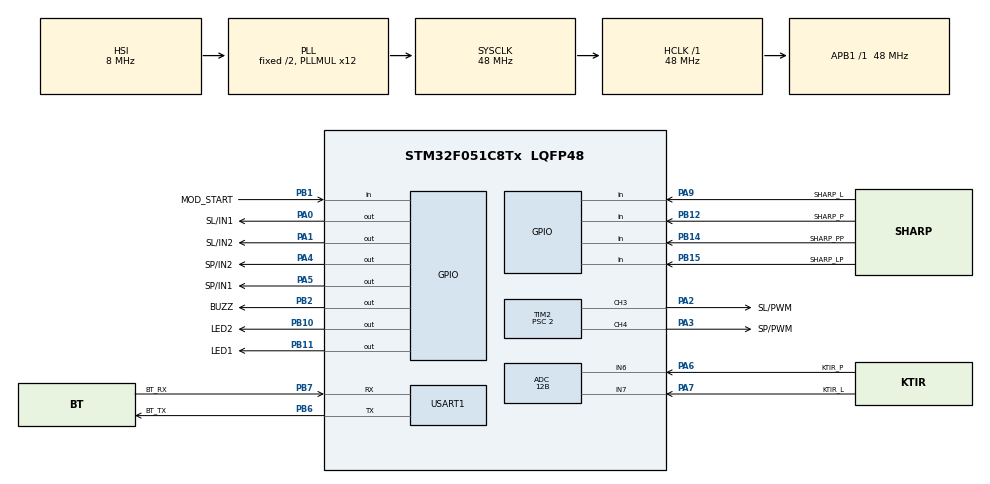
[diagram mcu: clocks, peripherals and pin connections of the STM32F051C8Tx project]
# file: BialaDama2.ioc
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ADC.ClockPrescaler=ADC_CLOCK_SYNC_PCLK_DIV4
ADC.ContinuousConvMode=ENABLE
ADC.DMAContinuousRequests=ENABLE
ADC.DataAlign=ADC_DATAALIGN_RIGHT
ADC.DiscontinuousConvMode=DISABLE
ADC.EOCSelection=ADC_EOC_SINGLE_CONV
ADC.EnableAnalogWatchDog=false
ADC.ExternalTrigConvEdge=ADC_EXTERNALTRIGCONVEDGE_NONE
ADC.LowPowerAutoPowerOff=DISABLE
ADC.LowPowerAutoWait=DISABLE
ADC.Overrun=ADC_OVR_DATA_PRESERVED
ADC.Resolution=ADC_RESOLUTION_12B
ADC.SamplingTime=ADC_SAMPLETIME_239CYCLES_5
ADC.ScanConvMode=ADC_SCAN_DIRECTION_FORWARD
Dma.ADC.2.Direction=DMA_PERIPH_TO_MEMORY
Dma.ADC.2.Instance=DMA1_Channel1
Dma.ADC.2.MemDataAlignment=DMA_MDATAALIGN_HALFWORD
Dma.ADC.2.MemInc=DMA_MINC_ENABLE
Dma.ADC.2.Mode=DMA_CIRCULAR
Dma.ADC.2.PeriphDataAlignment=DMA_PDATAALIGN_HALFWORD
Dma.ADC.2.PeriphInc=DMA_PINC_DISABLE
Dma.ADC.2.Priority=DMA_PRIORITY_LOW
Dma.Request0=USART1_RX
Dma.Request1=USART1_TX
Dma.Request2=ADC
Dma.USART1_RX.0.Direction=DMA_PERIPH_TO_MEMORY
Dma.USART1_RX.0.Instance=DMA1_Channel3
Dma.USART1_RX.0.MemDataAlignment=DMA_MDATAALIGN_BYTE
Dma.USART1_RX.0.MemInc=DMA_MINC_ENABLE
Dma.USART1_RX.0.Mode=DMA_CIRCULAR
Dma.USART1_RX.0.PeriphDataAlignment=DMA_PDATAALIGN_BYTE
Dma.USART1_RX.0.PeriphInc=DMA_PINC_DISABLE
Dma.USART1_RX.0.Priority=DMA_PRIORITY_LOW
Dma.USART1_TX.1.Direction=DMA_MEMORY_TO_PERIPH
Dma.USART1_TX.1.Instance=DMA1_Channel2
Dma.USART1_TX.1.MemDataAlignment=DMA_MDATAALIGN_BYTE
Dma.USART1_TX.1.MemInc=DMA_MINC_ENABLE
Dma.USART1_TX.1.Mode=DMA_NORMAL
Dma.USART1_TX.1.PeriphDataAlignment=DMA_PDATAALIGN_BYTE
Dma.USART1_TX.1.PeriphInc=DMA_PINC_DISABLE
Dma.USART1_TX.1.Priority=DMA_PRIORITY_LOW
Mcu.Family=STM32F0
Mcu.Name=STM32F051C8Tx
Mcu.Package=LQFP48
NVIC.DMA1_Channel1_IRQn=true\:0\:0\:false\:false\:true
NVIC.DMA1_Channel2_3_IRQn=true\:0\:0\:false\:false\:true
NVIC.TIM17_IRQn=true\:0\:0\:false\:false\:true
NVIC.USART1_IRQn=true\:0\:0\:false\:false\:true
PA0.GPIO_Label=SL/IN1
PA0.Signal=GPIO_Output
PA1.GPIO_Label=SL/IN2
PA1.Signal=GPIO_Output
PA13.GPIO_Label=PROG1
PA13.Mode=Serial_Wire
PA13.Signal=SYS_SWDIO
PA14.GPIO_Label=PROG2
PA14.Mode=Serial_Wire
PA14.Signal=SYS_SWCLK
PA2.GPIO_Label=SL/PWM
PA2.Signal=S_TIM2_CH3
PA3.GPIO_Label=SP/PWM
PA3.Signal=S_TIM2_CH4
PA4.GPIO_Label=SP/IN2
PA4.Signal=GPIO_Output
PA5.GPIO_Label=SP/IN1
PA5.Signal=GPIO_Output
PA6.GPIO_Label=KTIR_P
PA6.Mode=IN6
PA6.Signal=ADC_IN6
PA7.GPIO_Label=KTIR_L
PA7.Mode=IN7
PA7.Signal=ADC_IN7
PA9.GPIO_Label=SHARP_L
PA9.Signal=GPIO_Input
PB1.GPIO_Label=MOD_START
PB1.GPIO_PuPd=GPIO_PULLDOWN
PB1.Signal=GPIO_Input
PB10.GPIO_Label=LED2
PB10.Signal=GPIO_Output
PB11.GPIO_Label=LED1
PB11.Signal=GPIO_Output
PB12.GPIO_Label=SHARP_P
PB12.Signal=GPIO_Input
PB14.GPIO_Label=SHARP_PP
PB14.Signal=GPIO_Input
PB15.GPIO_Label=SHARP_LP
PB15.Signal=GPIO_Input
PB2.GPIO_Label=BUZZ
PB2.Signal=GPIO_Output
PB6.GPIO_Label=BT_TX
PB6.Mode=Asynchronous
PB6.Signal=USART1_TX
PB7.GPIO_Label=BT_RX
PB7.Mode=Asynchronous
PB7.Signal=USART1_RX
ProjectManager.HeapSize=0x200
ProjectManager.StackSize=0x400
ProjectManager.TargetToolchain=SW4STM32
RCC.AHBFreq_Value=48000000
RCC.APB1Freq_Value=48000000
RCC.APB1TimFreq_Value=48000000
RCC.HCLKFreq_Value=48000000
RCC.PLLMUL=RCC_PLL_MUL12
RCC.SYSCLKFreq_VALUE=48000000
RCC.SYSCLKSource=RCC_SYSCLKSOURCE_PLLCLK
SH.S_TIM2_CH3.0=TIM2_CH3,PWM Generation3 CH3
SH.S_TIM2_CH4.0=TIM2_CH4,PWM Generation4 CH4
TIM17.Period=999
TIM17.Prescaler=47
TIM2.Channel-PWM\ Generation3\ CH3=TIM_CHANNEL_3
TIM2.Channel-PWM\ Generation4\ CH4=TIM_CHANNEL_4
TIM2.Period=999
TIM2.Prescaler=2
USART1.WordLength=UART_WORDLENGTH_8B
VP_TIM17_VS_ClockSourceINT.Mode=Enable_Timer
VP_TIM2_VS_ClockSourceINT.Mode=Internal
board=BialaDama2

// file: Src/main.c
/**
  ******************************************************************************
  * File Name          : main.c
  * Description        : Main program body
  ******************************************************************************
  *
  * COPYRIGHT(c) 2017 STMicroelectronics
  *
  * Redistribution and use in source and binary forms, with or without modification,
  * are permitted provided that the following conditions are met:
  *   1. Redistributions of source code must retain the above copyright notice,
  *      this list of conditions and the following disclaimer.
  *   2. Redistributions in binary form must reproduce the above copyright notice,
  *      this list of conditions and the following disclaimer in the documentation
  *      and/or other materials provided with the distribution.
  *   3. Neither the name of STMicroelectronics nor the names of its contributors
  *      may be used to endorse or promote products derived from this software
  *      without specific prior written permission.
  *
  * THIS SOFTWARE IS PROVIDED BY THE COPYRIGHT HOLDERS AND CONTRIBUTORS "AS IS"
  * AND ANY EXPRESS OR IMPLIED WARRANTIES, INCLUDING, BUT NOT LIMITED TO, THE
  * IMPLIED WARRANTIES OF MERCHANTABILITY AND FITNESS FOR A PARTICULAR PURPOSE ARE
  * DISCLAIMED. IN NO EVENT SHALL THE COPYRIGHT HOLDER OR CONTRIBUTORS BE LIABLE
  * FOR ANY DIRECT, INDIRECT, INCIDENTAL, SPECIAL, EXEMPLARY, OR CONSEQUENTIAL
  * DAMAGES (INCLUDING, BUT NOT LIMITED TO, PROCUREMENT OF SUBSTITUTE GOODS OR
  * SERVICES; LOSS OF USE, DATA, OR PROFITS; OR BUSINESS INTERRUPTION) HOWEVER
  * CAUSED AND ON ANY THEORY OF LIABILITY, WHETHER IN CONTRACT, STRICT LIABILITY,
  * OR TORT (INCLUDING NEGLIGENCE OR OTHERWISE) ARISING IN ANY WAY OUT OF THE USE
  * OF THIS SOFTWARE, EVEN IF ADVISED OF THE POSSIBILITY OF SUCH DAMAGE.
  *
  ******************************************************************************
  */
#include "main.h"
#include "stm32f0xx_hal.h"

ADC_HandleTypeDef hadc;
DMA_HandleTypeDef hdma_adc;

TIM_HandleTypeDef htim2;
TIM_HandleTypeDef htim17;

UART_HandleTypeDef huart1;
DMA_HandleTypeDef hdma_usart1_rx;
DMA_HandleTypeDef hdma_usart1_tx;

/* USER CODE BEGIN PV */
/* Private variables ---------------------------------------------------------*/
uint16_t ADC_val[2];
uint8_t ADC1_0[2];
uint8_t SHARP1_0[4];
const uint16_t Duty = 1000;
const uint16_t prog = 2000;
uint8_t start = 0;
uint8_t startleft = 0;
uint8_t data = 0;
/* USER CODE END PV */

void SystemClock_Config(void);
void Error_Handler(void);
static void MX_GPIO_Init(void);
static void MX_DMA_Init(void);
static void MX_ADC_Init(void);
static void MX_TIM2_Init(void);
static void MX_USART1_UART_Init(void);
static void MX_TIM17_Init(void);

void HAL_TIM_MspPostInit(TIM_HandleTypeDef *htim);

/* USER CODE BEGIN PFP */
/* Private function prototypes -----------------------------------------------*/
void adc_lvl();

void ADC_Line();

void forward();

void back();

void forwardRight();

void forwardLeft();

void hardRight();

void hardLeft();

void left();

void right();

void stop();

void lookForEnemy();

void motorsForward();

void fight();

void HAL_UART_RxCpltCallback(UART_HandleTypeDef *huart);

void HAL_TIM_PeriodElapsedCallback(TIM_HandleTypeDef *htim);

/* USER CODE END PFP */

int main(void)
{

  /* MCU Configuration----------------------------------------------------------*/

  /* Reset of all peripherals, Initializes the Flash interface and the Systick. */
  HAL_Init();

  /* Configure the system clock */
  SystemClock_Config();

  /* Initialize all configured peripherals */
  MX_GPIO_Init();
  MX_DMA_Init();
  MX_ADC_Init();
  MX_TIM2_Init();
  MX_USART1_UART_Init();
  MX_TIM17_Init();

  /* USER CODE BEGIN 2 */

  HAL_TIM_Base_Start_IT(&htim17);

  HAL_TIM_PWM_Start(&htim2, TIM_CHANNEL_3);
  HAL_TIM_PWM_Start(&htim2, TIM_CHANNEL_4);

  //HAL_ADC_Start_DMA(&hadc, ADC_val, 2);

  HAL_UART_Receive_DMA(&huart1,&data,1);

  motorsForward();

	if(HAL_GPIO_ReadPin(SHARP_L_GPIO_Port, SHARP_L_Pin) == GPIO_PIN_RESET){
		startleft = 1;
		HAL_Delay(500);
		HAL_GPIO_TogglePin(LED1_GPIO_Port, LED1_Pin);
		HAL_Delay(500);
		HAL_GPIO_TogglePin(LED1_GPIO_Port, LED1_Pin);
	}
	else if(HAL_GPIO_ReadPin(SHARP_P_GPIO_Port, SHARP_P_Pin) == GPIO_PIN_RESET){
		startleft = 0;
		HAL_Delay(500);
		HAL_GPIO_TogglePin(LED2_GPIO_Port, LED2_Pin);
		HAL_Delay(500);
		HAL_GPIO_TogglePin(LED2_GPIO_Port, LED2_Pin);
	}

  /* USER CODE END 2 */

  /* Infinite loop */
  /* USER CODE BEGIN WHILE */

  while (1)
  {
	  //BT start
	while(HAL_GPIO_ReadPin(MOD_START_GPIO_Port, MOD_START_Pin) == GPIO_PIN_SET){
	//adc_lvl();
	//ADC_Line();
	lookForEnemy();
	fight();
	}
	stop();
  /* USER CODE END WHILE */

  }

}

/** System Clock Configuration
*/
void SystemClock_Config(void)
{

  RCC_OscInitTypeDef RCC_OscInitStruct;
  RCC_ClkInitTypeDef RCC_ClkInitStruct;
  RCC_PeriphCLKInitTypeDef PeriphClkInit;

    /**Initializes the CPU, AHB and APB busses clocks
    */
  RCC_OscInitStruct.OscillatorType = RCC_OSCILLATORTYPE_HSI;
  RCC_OscInitStruct.HSIState = RCC_HSI_ON;
  RCC_OscInitStruct.HSICalibrationValue = 16;
  RCC_OscInitStruct.PLL.PLLState = RCC_PLL_ON;
  RCC_OscInitStruct.PLL.PLLSource = RCC_PLLSOURCE_HSI;
  RCC_OscInitStruct.PLL.PLLMUL = RCC_PLL_MUL12;
  RCC_OscInitStruct.PLL.PREDIV = RCC_PREDIV_DIV1;
  if (HAL_RCC_OscConfig(&RCC_OscInitStruct) != HAL_OK)
  {
    Error_Handler();
  }

    /**Initializes the CPU, AHB and APB busses clocks
    */
  RCC_ClkInitStruct.ClockType = RCC_CLOCKTYPE_HCLK|RCC_CLOCKTYPE_SYSCLK
                              |RCC_CLOCKTYPE_PCLK1;
  RCC_ClkInitStruct.SYSCLKSource = RCC_SYSCLKSOURCE_PLLCLK;
  RCC_ClkInitStruct.AHBCLKDivider = RCC_SYSCLK_DIV1;
  RCC_ClkInitStruct.APB1CLKDivider = RCC_HCLK_DIV1;

  if (HAL_RCC_ClockConfig(&RCC_ClkInitStruct, FLASH_LATENCY_1) != HAL_OK)
  {
    Error_Handler();
  }

  PeriphClkInit.PeriphClockSelection = RCC_PERIPHCLK_USART1;
  PeriphClkInit.Usart1ClockSelection = RCC_USART1CLKSOURCE_PCLK1;
  if (HAL_RCCEx_PeriphCLKConfig(&PeriphClkInit) != HAL_OK)
  {
    Error_Handler();
  }

    /**Configure the Systick interrupt time
    */
  HAL_SYSTICK_Config(HAL_RCC_GetHCLKFreq()/1000);

    /**Configure the Systick
    */
  HAL_SYSTICK_CLKSourceConfig(SYSTICK_CLKSOURCE_HCLK);

  /* SysTick_IRQn interrupt configuration */
  HAL_NVIC_SetPriority(SysTick_IRQn, 0, 0);
}

/* ADC init function */
static void MX_ADC_Init(void)
{

  ADC_ChannelConfTypeDef sConfig;

    /**Configure the global features of the ADC (Clock, Resolution, Data Alignment and number of conversion)
    */
  hadc.Instance = ADC1;
  hadc.Init.ClockPrescaler = ADC_CLOCK_SYNC_PCLK_DIV4;
  hadc.Init.Resolution = ADC_RESOLUTION_12B;
  hadc.Init.DataAlign = ADC_DATAALIGN_RIGHT;
  hadc.Init.ScanConvMode = ADC_SCAN_DIRECTION_FORWARD;
  hadc.Init.EOCSelection = ADC_EOC_SINGLE_CONV;
  hadc.Init.LowPowerAutoWait = DISABLE;
  hadc.Init.LowPowerAutoPowerOff = DISABLE;
  hadc.Init.ContinuousConvMode = ENABLE;
  hadc.Init.DiscontinuousConvMode = DISABLE;
  hadc.Init.ExternalTrigConvEdge = ADC_EXTERNALTRIGCONVEDGE_NONE;
  hadc.Init.DMAContinuousRequests = ENABLE;
  hadc.Init.Overrun = ADC_OVR_DATA_PRESERVED;
  if (HAL_ADC_Init(&hadc) != HAL_OK)
  {
    Error_Handler();
  }

    /**Configure for the selected ADC regular channel to be converted.
    */
  sConfig.Channel = ADC_CHANNEL_6;
  sConfig.Rank = ADC_RANK_CHANNEL_NUMBER;
  sConfig.SamplingTime = ADC_SAMPLETIME_239CYCLES_5;
  if (HAL_ADC_ConfigChannel(&hadc, &sConfig) != HAL_OK)
  {
    Error_Handler();
  }

    /**Configure for the selected ADC regular channel to be converted.
    */
  sConfig.Channel = ADC_CHANNEL_7;
  if (HAL_ADC_ConfigChannel(&hadc, &sConfig) != HAL_OK)
  {
    Error_Handler();
  }

}

/* TIM2 init function */
static void MX_TIM2_Init(void)
{

  TIM_ClockConfigTypeDef sClockSourceConfig;
  TIM_MasterConfigTypeDef sMasterConfig;
  TIM_OC_InitTypeDef sConfigOC;

  htim2.Instance = TIM2;
  htim2.Init.Prescaler = 2;
  htim2.Init.CounterMode = TIM_COUNTERMODE_UP;
  htim2.Init.Period = 999;
  htim2.Init.ClockDivision = TIM_CLOCKDIVISION_DIV1;
  if (HAL_TIM_Base_Init(&htim2) != HAL_OK)
  {
    Error_Handler();
  }

  sClockSourceConfig.ClockSource = TIM_CLOCKSOURCE_INTERNAL;
  if (HAL_TIM_ConfigClockSource(&htim2, &sClockSourceConfig) != HAL_OK)
  {
    Error_Handler();
  }

  if (HAL_TIM_PWM_Init(&htim2) != HAL_OK)
  {
    Error_Handler();
  }

  sMasterConfig.MasterOutputTrigger = TIM_TRGO_RESET;
  sMasterConfig.MasterSlaveMode = TIM_MASTERSLAVEMODE_DISABLE;
  if (HAL_TIMEx_MasterConfigSynchronization(&htim2, &sMasterConfig) != HAL_OK)
  {
    Error_Handler();
  }

  sConfigOC.OCMode = TIM_OCMODE_PWM1;
  sConfigOC.Pulse = 0;
  sConfigOC.OCPolarity = TIM_OCPOLARITY_HIGH;
  sConfigOC.OCFastMode = TIM_OCFAST_DISABLE;
  if (HAL_TIM_PWM_ConfigChannel(&htim2, &sConfigOC, TIM_CHANNEL_3) != HAL_OK)
  {
    Error_Handler();
  }

  if (HAL_TIM_PWM_ConfigChannel(&htim2, &sConfigOC, TIM_CHANNEL_4) != HAL_OK)
  {
    Error_Handler();
  }

  HAL_TIM_MspPostInit(&htim2);

}

/* TIM17 init function */
static void MX_TIM17_Init(void)
{

  htim17.Instance = TIM17;
  htim17.Init.Prescaler = 47;
  htim17.Init.CounterMode = TIM_COUNTERMODE_UP;
  htim17.Init.Period = 999;
  htim17.Init.ClockDivision = TIM_CLOCKDIVISION_DIV1;
  htim17.Init.RepetitionCounter = 0;
  if (HAL_TIM_Base_Init(&htim17) != HAL_OK)
  {
    Error_Handler();
  }

}

/* USART1 init function */
static void MX_USART1_UART_Init(void)
{

  huart1.Instance = USART1;
  huart1.Init.BaudRate = 38400;
  huart1.Init.WordLength = UART_WORDLENGTH_8B;
  huart1.Init.StopBits = UART_STOPBITS_1;
  huart1.Init.Parity = UART_PARITY_NONE;
  huart1.Init.Mode = UART_MODE_TX_RX;
  huart1.Init.HwFlowCtl = UART_HWCONTROL_NONE;
  huart1.Init.OverSampling = UART_OVERSAMPLING_16;
  huart1.Init.OneBitSampling = UART_ONE_BIT_SAMPLE_DISABLE;
  huart1.AdvancedInit.AdvFeatureInit = UART_ADVFEATURE_NO_INIT;
  if (HAL_UART_Init(&huart1) != HAL_OK)
  {
    Error_Handler();
  }

}

static void MX_DMA_Init(void)
{
  /* DMA controller clock enable */
  __HAL_RCC_DMA1_CLK_ENABLE();

  /* DMA interrupt init */
  /* DMA1_Channel1_IRQn interrupt configuration */
  HAL_NVIC_SetPriority(DMA1_Channel1_IRQn, 0, 0);
  HAL_NVIC_EnableIRQ(DMA1_Channel1_IRQn);
  /* DMA1_Channel2_3_IRQn interrupt configuration */
  HAL_NVIC_SetPriority(DMA1_Channel2_3_IRQn, 0, 0);
  HAL_NVIC_EnableIRQ(DMA1_Channel2_3_IRQn);

}

/** Configure pins as
        * Analog
        * Input
        * Output
        * EVENT_OUT
        * EXTI
*/
static void MX_GPIO_Init(void)
{

  GPIO_InitTypeDef GPIO_InitStruct;

  /* GPIO Ports Clock Enable */
  __HAL_RCC_GPIOA_CLK_ENABLE();
  __HAL_RCC_GPIOB_CLK_ENABLE();

  /*Configure GPIO pin Output Level */
  HAL_GPIO_WritePin(GPIOA, SL_IN1_Pin|SL_IN2_Pin|SP_IN2_Pin|SP_IN1_Pin, GPIO_PIN_RESET);

  /*Configure GPIO pin Output Level */
  HAL_GPIO_WritePin(GPIOB, BUZZ_Pin|LED2_Pin|LED1_Pin, GPIO_PIN_RESET);

  /*Configure GPIO pins : SL_IN1_Pin SL_IN2_Pin SP_IN2_Pin SP_IN1_Pin */
  GPIO_InitStruct.Pin = SL_IN1_Pin|SL_IN2_Pin|SP_IN2_Pin|SP_IN1_Pin;
  GPIO_InitStruct.Mode = GPIO_MODE_OUTPUT_PP;
  GPIO_InitStruct.Pull = GPIO_NOPULL;
  GPIO_InitStruct.Speed = GPIO_SPEED_FREQ_LOW;
  HAL_GPIO_Init(GPIOA, &GPIO_InitStruct);

  /*Configure GPIO pin : MOD_START_Pin */
  GPIO_InitStruct.Pin = MOD_START_Pin;
  GPIO_InitStruct.Mode = GPIO_MODE_INPUT;
  GPIO_InitStruct.Pull = GPIO_PULLDOWN;
  HAL_GPIO_Init(MOD_START_GPIO_Port, &GPIO_InitStruct);

  /*Configure GPIO pins : BUZZ_Pin LED2_Pin LED1_Pin */
  GPIO_InitStruct.Pin = BUZZ_Pin|LED2_Pin|LED1_Pin;
  GPIO_InitStruct.Mode = GPIO_MODE_OUTPUT_PP;
  GPIO_InitStruct.Pull = GPIO_NOPULL;
  GPIO_InitStruct.Speed = GPIO_SPEED_FREQ_LOW;
  HAL_GPIO_Init(GPIOB, &GPIO_InitStruct);

  /*Configure GPIO pins : SHARP_P_Pin SHARP_PP_Pin SHARP_LP_Pin */
  GPIO_InitStruct.Pin = SHARP_P_Pin|SHARP_PP_Pin|SHARP_LP_Pin;
  GPIO_InitStruct.Mode = GPIO_MODE_INPUT;
  GPIO_InitStruct.Pull = GPIO_NOPULL;
  HAL_GPIO_Init(GPIOB, &GPIO_InitStruct);

  /*Configure GPIO pin : SHARP_L_Pin */
  GPIO_InitStruct.Pin = SHARP_L_Pin;
  GPIO_InitStruct.Mode = GPIO_MODE_INPUT;
  GPIO_InitStruct.Pull = GPIO_NOPULL;
  HAL_GPIO_Init(SHARP_L_GPIO_Port, &GPIO_InitStruct);

}

/* USER CODE BEGIN 4 */
void adc_lvl(){
//	if (ADC_val[0] < 500)  //prawy
//		ADC1_0[0] = 1;
//	else
//		ADC1_0[0] = 0;
	ADC1_0[0] = 0;
	if (ADC_val[1] < 1000) //lewy
		ADC1_0[1] = 1;
	else
		ADC1_0[1] = 0;

}

void forward(){
	  TIM2->CCR3 = Duty;
	  TIM2->CCR4 = Duty;
}

void back(){
	HAL_GPIO_TogglePin(SP_IN1_GPIO_Port, SP_IN1_Pin);			//ustawienie jednego silnika na jazde w przeciwna strone
	HAL_GPIO_TogglePin(SP_IN2_GPIO_Port, SP_IN2_Pin);
	HAL_GPIO_TogglePin(SL_IN1_GPIO_Port, SL_IN1_Pin);			//ustawienie jednego silnika na jazde w przeciwna strone
	HAL_GPIO_TogglePin(SL_IN2_GPIO_Port, SL_IN2_Pin);
	forward();
}

void forwardRight(){
	  TIM2->CCR3 = Duty;
	  TIM2->CCR4 = Duty * 0.6;
}

void forwardLeft(){
	  TIM2->CCR3 = Duty * 0.6;
	  TIM2->CCR4 = Duty;
}

void hardRight(){
	 HAL_GPIO_WritePin(SP_IN1_GPIO_Port, SP_IN1_Pin, GPIO_PIN_SET);
	 HAL_GPIO_WritePin(SP_IN2_GPIO_Port, SP_IN2_Pin, GPIO_PIN_RESET);
	 TIM2->CCR3 = Duty;
	 TIM2->CCR4 = Duty;
}

void hardLeft(){
	HAL_GPIO_WritePin(SL_IN1_GPIO_Port, SL_IN1_Pin, GPIO_PIN_SET);		//ustawienie silnikow na jazde do przodu
	HAL_GPIO_WritePin(SL_IN2_GPIO_Port, SL_IN2_Pin, GPIO_PIN_RESET);
	TIM2->CCR3 = Duty;
	TIM2->CCR4 = Duty;
}

void left(){
	  TIM2->CCR3 = 0;
	  TIM2->CCR4 = Duty;
}

void right(){
	  TIM2->CCR3 = Duty; 	 //lewe kolo
	  TIM2->CCR4 = 0;		 //prawe kolo
}

void stop(){
	  TIM2->CCR3 = 0; 	 //lewe kolo
	  TIM2->CCR4 = 0;		 //prawe kolo
}

void lookForEnemy(){
	if (HAL_GPIO_ReadPin(SHARP_L_GPIO_Port, SHARP_L_Pin) == GPIO_PIN_RESET) {
		SHARP1_0[0] = 1;
		SHARP1_0[3] = 0;
	}
	else{
		//SHARP1_0[0] = 0;
	}
	if (HAL_GPIO_ReadPin(SHARP_LP_GPIO_Port, SHARP_LP_Pin) == GPIO_PIN_RESET) {
		SHARP1_0[1] = 1;
		SHARP1_0[0] = 0;
		SHARP1_0[3] = 0;
	}
	else{
		SHARP1_0[1] = 0;
	}
	if (HAL_GPIO_ReadPin(SHARP_PP_GPIO_Port, SHARP_PP_Pin) == GPIO_PIN_RESET) {
		SHARP1_0[2] = 1;
		SHARP1_0[0] = 0;
		SHARP1_0[3] = 0;
	}
	else{
		SHARP1_0[2] = 0;
	}
	if (HAL_GPIO_ReadPin(SHARP_P_GPIO_Port, SHARP_P_Pin) == GPIO_PIN_RESET) {
		SHARP1_0[3] = 1;
		SHARP1_0[0] = 0;
	}
	else{
		//SHARP1_0[3] = 0;
	}
}

void ADC_Line(){
	if(ADC1_0[0] == 1 || ADC1_0[1] == 1){
		 back();
		 HAL_Delay(100);
	}
//	if(ADC1_0[0] == 1 && ADC1_0[1] == 0){   //prawy
//		hardlLeft();
//		HAL_Delay(20);
//	}
//	if(ADC1_0[0] == 0 && ADC1_0[1] == 1){   //lewy
//		 hardRight();
//		 HAL_Delay(20);
//	}
}

void motorsForward(){
	  HAL_GPIO_WritePin(SL_IN1_GPIO_Port, SL_IN1_Pin, GPIO_PIN_RESET);		//ustawienie silnikow na jazde do przodu
	  HAL_GPIO_WritePin(SL_IN2_GPIO_Port, SL_IN2_Pin, GPIO_PIN_SET);

	  HAL_GPIO_WritePin(SP_IN1_GPIO_Port, SP_IN1_Pin, GPIO_PIN_RESET);
	  HAL_GPIO_WritePin(SP_IN2_GPIO_Port, SP_IN2_Pin, GPIO_PIN_SET);
}

void fight(){
	 if(SHARP1_0[1] || SHARP1_0[2]){
		 motorsForward();
		 if(SHARP1_0[1] && SHARP1_0[2]){
			 forward();
		 }
		 else if(!SHARP1_0[1] && SHARP1_0[2]){
			 forwardRight();
		 }
		 else if(SHARP1_0[1] && !SHARP1_0[2]){
			 forwardLeft();
		 }
		 HAL_GPIO_WritePin(LED1_GPIO_Port, LED1_Pin, GPIO_PIN_SET);
		 HAL_GPIO_WritePin(LED2_GPIO_Port, LED2_Pin, GPIO_PIN_SET);
	 }
	 else if(SHARP1_0[0]){
		 motorsForward();
		 left();
		 startleft = 1;
		 HAL_GPIO_WritePin(LED1_GPIO_Port, LED1_Pin, GPIO_PIN_SET);
		 HAL_GPIO_WritePin(LED2_GPIO_Port, LED2_Pin, GPIO_PIN_RESET);
	 }
	 else if(SHARP1_0[3]){
		 motorsForward();
		 startleft = 0;
		 right();
		 HAL_GPIO_WritePin(LED1_GPIO_Port, LED1_Pin, GPIO_PIN_RESET);
		 HAL_GPIO_WritePin(LED2_GPIO_Port, LED2_Pin, GPIO_PIN_SET);
	 }
	 else{
		 if(startleft){
			 hardLeft();
		 }
		 else{
			 hardRight();
		 }
	}
}

//void bluetooth(){
//	 static uint16_t cnt = 0; // Licznik wyslanych wiadomosci
//	 uint8_t data[50];// Tablica przechowujaca wysylana wiadomosc.
//	 uint16_t size = 0; // Rozmiar wysylanej wiadomosci ++cnt; // Zwiekszenie licznika wyslanych wiadomosci.
//
//	 ++cnt; // Zwiekszenie licznika wyslanych wiadomosci.
////	 size = sprintf(data, "Liczba wyslanych wiadomosci: %d.\n\r", cnt); // Stworzenie wiadomosci do wyslania oraz przypisanie ilosci wysylanych znakow do zmiennej size.
////	 HAL_UART_Transmit_IT(&huart1, data, size); // Rozpoczecie nadawania danych z wykorzystaniem przerwan
//}

 void HAL_UART_RxCpltCallback(UART_HandleTypeDef *huart)
 {
	 if (data == 128){
		 start = 1;
	 }
	 else if(data == 248){
		 start = 0;
	 }
 }
void HAL_TIM_PeriodElapsedCallback(TIM_HandleTypeDef *htim){
 if (data == 128)
 {
	 start = 1;

 }
 else if(data == 248)
 {
	 start = 0;
 }
}
//void HAL_UART_RxCpltCallback(UART_HandleTypeDef *huart) {
//
// // Odebrany znak zostaje przekonwertowany na liczbe calkowita i sprawdzony
// // instrukcja warunkowa
// switch (atoi(&Received)) {
//
// case 0: // Jezeli odebrany zostanie znak 0
// start = 0;
// break;
//
// case 1: // Jezeli odebrany zostanie znak 1
// start = 1;
// break;
//
// default: // Jezeli odebrano nieobslugiwany znak
// //size = sprintf(Data, "Odebrano nieznany znak: %c\n\r", Received);
// break;
// }
//}

//void HAL_SYSTICK_Callback(void) {
//	adc_lvl();
//	ADC_Line();
//
//
//}
/* USER CODE END 4 */

void Error_Handler(void)
{
  while(1)
  {
  }
}

/************************ (C) COPYRIGHT STMicroelectronics *****END OF FILE****/
